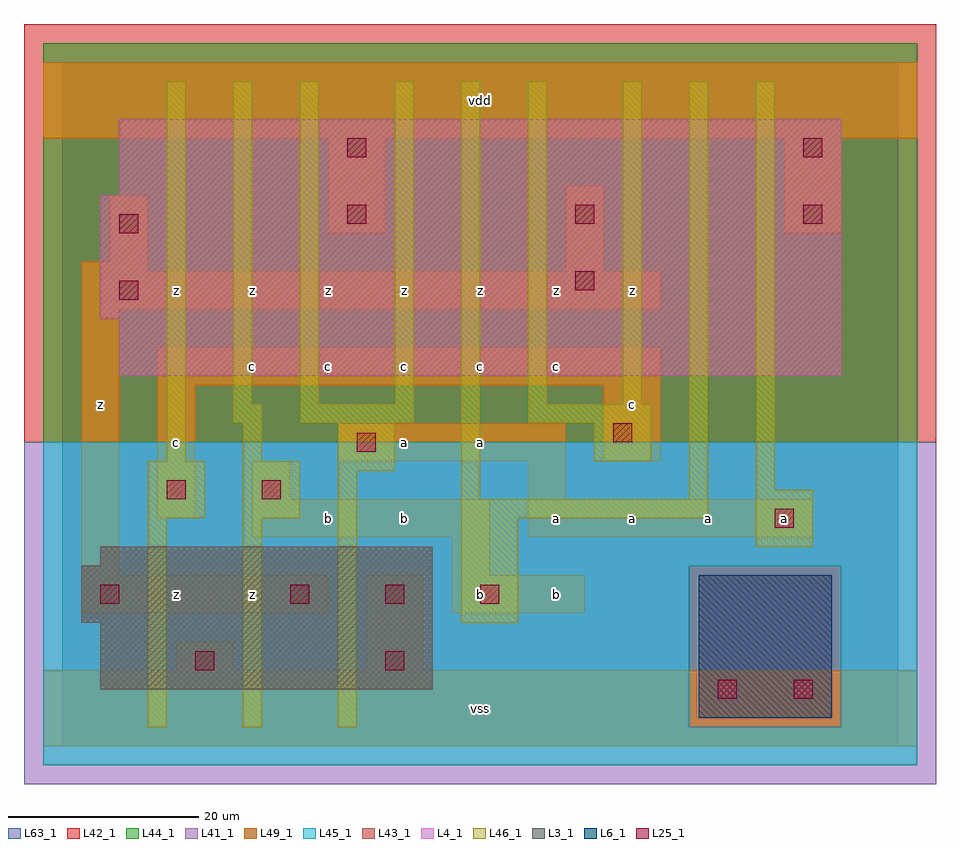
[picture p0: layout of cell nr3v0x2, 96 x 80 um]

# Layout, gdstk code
import gdstk
lib = gdstk.Library(unit=1e-6, precision=1e-09)
def R(c, l, rs):  # rectangles x0, y0, x1, y1
    for r in rs: c.add(gdstk.rectangle(r[:2], r[2:], *l))
def A(c, l, x, y, w, h, nx, ny, dx, dy):  # array of equal rectangles
    R(c, l, [(x+i*dx, y+j*dy, x+i*dx+w, y+j*dy+h) for i in range(nx) for j in range(ny)])
L3_1 = (3, 1)
L4_1 = (4, 1)
L6_1 = (6, 1)
L25_1 = (25, 1)
L41_1 = (41, 1)
L42_1 = (42, 1)
L43_1 = (43, 1)
L44_1 = (44, 1)
L45_1 = (45, 1)
L46_1 = (46, 1)
L49_1 = (49, 1)
L63_1 = (63, 1)

nr3v0x2 = lib.new_cell('nr3v0x2')
R(nr3v0x2, L3_1, [(4,6,39,13), (2,13,39,19), (4,19,39,21)])
R(nr3v0x2, L4_1, [(6,39,82,45), (4,45,82,58), (6,58,82,66)])
R(nr3v0x2, L6_1, [(67,3,81,18), (67,3,81,18)])
A(nr3v0x2, L25_1, 24, 15, 2, 2, 3, 1, 10, 0)
A(nr3v0x2, L25_1, 30, 55, 2, 2, 3, 1, 24, 0)
R(nr3v0x2, L25_1, [(69,5,71,7), (77,5,79,7), (14,8,16,10), (34,8,36,10), (4,15,6,17), (75,23,77,25), (11,26,13,28), (21,26,23,28), (31,31,33,33), (58,32,60,34), (6,47,8,49), (54,48,56,50), (6,54,8,56), (30,62,32,64), (78,62,80,64)])
R(nr3v0x2, L41_1, [(-4,-4,92,32)])
R(nr3v0x2, L42_1, [(-4,32,92,76)])
R(nr3v0x2, L43_1, [(67,3,81,18), (4,6,39,13), (2,13,39,19), (4,19,39,21), (6,39,82,45), (4,45,82,58), (6,58,82,66)])
R(nr3v0x2, L44_1, [(66,2,82,19), (-2,32,90,74)])
R(nr3v0x2, L45_1, [(-2,-2,90,2), (-2,2,66,19), (82,2,90,19), (-2,19,90,32)])
R(nr3v0x2, L46_1, [(9,2,11,24), (19,2,21,24), (29,2,31,29), (42,13,48,24), (73,21,79,27), (9,24,15,30), (19,24,25,30), (42,24,68,26), (42,26,44,70), (66,26,68,70), (73,27,75,70), (29,29,35,34), (11,30,13,70), (19,30,21,34), (56,30,62,34), (18,34,21,36), (25,34,37,36), (49,34,62,36), (18,36,20,70), (25,36,27,70), (35,36,37,70), (49,36,51,70), (59,36,61,70)])
R(nr3v0x2, L49_1, [(-2,0,90,8), (12,8,18,11), (32,8,38,18), (2,14,28,18), (41,14,55,18), (2,18,6,46), (41,18,45,22), (20,22,45,26), (49,22,79,26), (10,24,14,38), (20,26,24,30), (49,26,53,30), (29,30,53,34), (57,30,63,38), (10,38,63,42), (2,46,63,50), (2,50,9,51), (53,50,57,59), (5,51,9,58), (28,54,34,64), (76,54,82,64), (-2,64,90,72)])
R(nr3v0x2, L63_1, [(0,0,88,72)])
nr3v0x2.add(gdstk.Label('z', (12,16), layer=49, texttype=1))
nr3v0x2.add(gdstk.Label('c', (12,32), layer=49, texttype=1))
nr3v0x2.add(gdstk.Label('z', (4,36), layer=49, texttype=1))
nr3v0x2.add(gdstk.Label('z', (12,48), layer=49, texttype=1))
nr3v0x2.add(gdstk.Label('z', (20,16), layer=49, texttype=1))
nr3v0x2.add(gdstk.Label('b', (28,24), layer=49, texttype=1))
nr3v0x2.add(gdstk.Label('c', (20,40), layer=49, texttype=1))
nr3v0x2.add(gdstk.Label('c', (28,40), layer=49, texttype=1))
nr3v0x2.add(gdstk.Label('z', (20,48), layer=49, texttype=1))
nr3v0x2.add(gdstk.Label('z', (28,48), layer=49, texttype=1))
nr3v0x2.add(gdstk.Label('vss', (44,4), layer=49, texttype=1))
nr3v0x2.add(gdstk.Label('b', (44,16), layer=49, texttype=1))
nr3v0x2.add(gdstk.Label('b', (36,24), layer=49, texttype=1))
nr3v0x2.add(gdstk.Label('a', (44,32), layer=49, texttype=1))
nr3v0x2.add(gdstk.Label('a', (36,32), layer=49, texttype=1))
nr3v0x2.add(gdstk.Label('c', (36,40), layer=49, texttype=1))
nr3v0x2.add(gdstk.Label('c', (44,40), layer=49, texttype=1))
nr3v0x2.add(gdstk.Label('z', (36,48), layer=49, texttype=1))
nr3v0x2.add(gdstk.Label('z', (44,48), layer=49, texttype=1))
nr3v0x2.add(gdstk.Label('vdd', (44,68), layer=49, texttype=1))
nr3v0x2.add(gdstk.Label('b', (52,16), layer=49, texttype=1))
nr3v0x2.add(gdstk.Label('a', (52,24), layer=49, texttype=1))
nr3v0x2.add(gdstk.Label('a', (60,24), layer=49, texttype=1))
nr3v0x2.add(gdstk.Label('a', (68,24), layer=49, texttype=1))
nr3v0x2.add(gdstk.Label('c', (52,40), layer=49, texttype=1))
nr3v0x2.add(gdstk.Label('c', (60,36), layer=49, texttype=1))
nr3v0x2.add(gdstk.Label('z', (52,48), layer=49, texttype=1))
nr3v0x2.add(gdstk.Label('z', (60,48), layer=49, texttype=1))
nr3v0x2.add(gdstk.Label('a', (76,24), layer=49, texttype=1))

lib.write_gds('nr3v0x2.gds')
